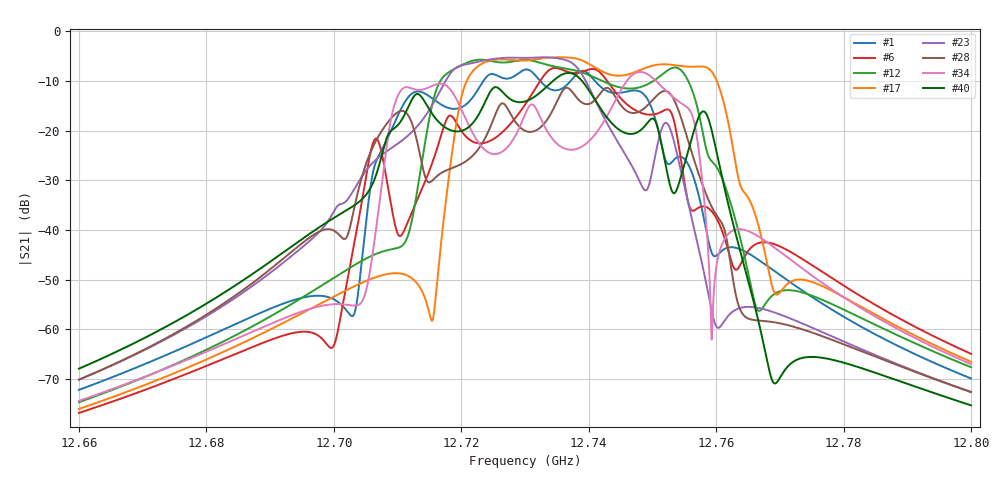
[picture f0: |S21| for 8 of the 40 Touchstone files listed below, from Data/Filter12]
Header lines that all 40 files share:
! TOUCHSTONE file generated by CST MICROWAVE STUDIO
! Project name: WaveGuide_BPF-Ver4.1_U-shape_Ku_T3_C4_CWA_2.cst
! Header version: 2018
! Port assignment regex: !\s*Touchstone port\s*([0-9]+)\s*=\s*(CST MWS port|CST DS port)\s*([0-9]+|Zmin|Zmax)\s*\(\"(.*)\"\)(\s*mode\s*([0-9]+))?.*
! Touchstone port assignment:
! Touchstone port 1 = CST MWS port 1 ("")
! Touchstone port 2 = CST MWS port 2 ("")
# GHz S RI R 50
Fixed: cavity_h = 16, cavity_l0 = 10, cavity_r = 2.5, cavity_screw_l = 0.5, cavity_screw_r = 1.5, cavity_w = 8, iris_h00 = 0, iris_h112 = 0, iris_rx = 0.1, iris_screw_l = 0.5, iris_screw_r = 1.5, iris_shift00 = 0, iris_shift112 = 0, iris_shift211 = 3.5, iris_shift310 = 0, iris_shift49 = 0, iris_shift58 = 3.5, iris_shift67 = 3.5, iris_tx = 4.5, iris_tz = 4.5, iris_w00 = 0, iris_w112 = 0, iris_w211 = 4, iris_w58 = 4, iris_w67 = 4, mesh_cavity = 5, mesh_iris = 7, mesh_screw = 7, order = 12, reset_all = 0, sigma = 4.8e+07
Also varied, not listed: iris_h45, iris_h49, iris_h56, iris_h58, iris_h67, iris_w310, iris_w49
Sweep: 12.66 GHz to 12.8 GHz
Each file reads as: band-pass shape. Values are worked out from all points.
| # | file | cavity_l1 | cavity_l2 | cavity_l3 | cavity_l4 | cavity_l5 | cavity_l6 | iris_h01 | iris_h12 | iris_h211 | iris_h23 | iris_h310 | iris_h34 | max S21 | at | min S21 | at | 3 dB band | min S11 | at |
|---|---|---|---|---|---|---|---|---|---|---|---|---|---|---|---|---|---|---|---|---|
| 1 | 121_Sprms.s2p | 15.2335 | 16.8156 | 17.1173 | 17.2417 | 17.1182 | 17.6177 | 8.8087 | 5.5981 | 3.6622 | 5.2048 | 3.9636 | 5.0733 | -7.67 dB | 12.73 GHz | -72.2 dB | 12.66 GHz | 12.723 GHz-12.733 GHz | -10.2 dB | 12.712 GHz |
| 2 | 122_Sprms.s2p | 15.1608 | 16.8086 | 17.1054 | 17.2429 | 17.1575 | 17.5666 | 8.8402 | 5.5957 | 3.6542 | 5.2049 | 3.9662 | 5.0701 | -8.33 dB | 12.718 GHz | -76.4 dB | 12.66 GHz | 12.711 GHz-12.72 GHz | -16.5 dB | 12.718 GHz |
| 3 | 123_Sprms.s2p | 15.2193 | 16.8415 | 17.0829 | 17.3085 | 17.1508 | 17.6099 | 8.8205 | 5.5876 | 3.6678 | 5.2008 | 3.977 | 5.0876 | -5.96 dB | 12.729 GHz | -72.1 dB | 12.7 GHz | 12.722 GHz-12.733 GHz | -16.6 dB | 12.73 GHz |
| 4 | 124_Sprms.s2p | 15.2225 | 16.8166 | 17.1429 | 17.2754 | 17.1395 | 17.6234 | 8.8228 | 5.6089 | 3.6639 | 5.1919 | 3.9705 | 5.0684 | -7.56 dB | 12.741 GHz | -71.8 dB | 12.66 GHz | 12.733 GHz-12.744 GHz | -17.8 dB | 12.706 GHz |
| 5 | 125_Sprms.s2p | 15.2264 | 16.8757 | 17.1068 | 17.2505 | 17.12 | 17.6037 | 8.8418 | 5.589 | 3.6661 | 5.1998 | 3.9765 | 5.0917 | -5.42 dB | 12.735 GHz | -75.9 dB | 12.8 GHz | 12.72 GHz-12.746 GHz | -26.0 dB | 12.736 GHz |
| 6 | 126_Sprms.s2p | 15.1668 | 16.8086 | 17.0632 | 17.3078 | 17.117 | 17.5871 | 8.832 | 5.5862 | 3.6599 | 5.2015 | 3.9622 | 5.0877 | -7.37 dB | 12.735 GHz | -76.8 dB | 12.66 GHz | 12.732 GHz-12.743 GHz | -11.0 dB | 12.734 GHz |
| 7 | 127_Sprms.s2p | 15.1908 | 16.804 | 17.1202 | 17.3016 | 17.0939 | 17.6262 | 8.8118 | 5.5937 | 3.6685 | 5.2085 | 3.9723 | 5.0917 | -9.08 dB | 12.725 GHz | -76.1 dB | 12.66 GHz | 12.722 GHz-12.732 GHz | -10.2 dB | 12.724 GHz |
| 8 | 128_Sprms.s2p | 15.1802 | 16.8472 | 17.1051 | 17.2406 | 17.1155 | 17.5807 | 8.8005 | 5.6124 | 3.6663 | 5.1923 | 3.9713 | 5.0868 | -5.42 dB | 12.726 GHz | -73.1 dB | 12.66 GHz | 12.72 GHz-12.739 GHz | -28.6 dB | 12.725 GHz |
| 9 | 129_Sprms.s2p | 15.2212 | 16.8653 | 17.0657 | 17.2244 | 17.1333 | 17.582 | 8.7999 | 5.6049 | 3.6529 | 5.2007 | 3.9653 | 5.0827 | -7.32 dB | 12.739 GHz | -73.9 dB | 12.8 GHz | 12.735 GHz-12.743 GHz | -12.8 dB | 12.74 GHz |
| 10 | 130_Sprms.s2p | 15.1932 | 16.8266 | 17.1368 | 17.2857 | 17.1257 | 17.623 | 8.8338 | 5.5968 | 3.668 | 5.208 | 3.9601 | 5.0924 | -6.03 dB | 12.723 GHz | -72.9 dB | 12.66 GHz | 12.72 GHz-12.727 GHz | -32.5 dB | 12.702 GHz |
| 11 | 131_Sprms.s2p | 15.2296 | 16.8154 | 17.0889 | 17.2991 | 17.1416 | 17.5982 | 8.8161 | 5.61 | 3.6634 | 5.1962 | 3.9658 | 5.0816 | -5.63 dB | 12.729 GHz | -71.5 dB | 12.66 GHz | 12.724 GHz-12.738 GHz | -19.6 dB | 12.729 GHz |
| 12 | 132_Sprms.s2p | 15.1742 | 16.8288 | 17.0803 | 17.2344 | 17.1303 | 17.5769 | 8.8149 | 5.6049 | 3.6565 | 5.2012 | 3.9764 | 5.0799 | -5.70 dB | 12.723 GHz | -74.7 dB | 12.66 GHz | 12.718 GHz-12.74 GHz | -16.1 dB | 12.723 GHz |
| 13 | 133_Sprms.s2p | 15.1805 | 16.818 | 17.0704 | 17.2276 | 17.156 | 17.6184 | 8.821 | 5.603 | 3.6666 | 5.2057 | 3.9778 | 5.0737 | -7.24 dB | 12.74 GHz | -74.6 dB | 12.66 GHz | 12.735 GHz-12.742 GHz | -12.0 dB | 12.74 GHz |
| 14 | 134_Sprms.s2p | 15.1715 | 16.8433 | 17.0872 | 17.2759 | 17.0946 | 17.5682 | 8.8373 | 5.5983 | 3.6682 | 5.1923 | 3.9798 | 5.0723 | -6.01 dB | 12.746 GHz | -72.9 dB | 12.66 GHz | 12.738 GHz-12.754 GHz | -15.4 dB | 12.746 GHz |
| 15 | 135_Sprms.s2p | 15.1707 | 16.8766 | 17.0802 | 17.2764 | 17.126 | 17.635 | 8.8159 | 5.6129 | 3.6633 | 5.2037 | 3.9602 | 5.0798 | -7.46 dB | 12.716 GHz | -71.9 dB | 12.8 GHz | 12.734 GHz-12.741 GHz | -17.0 dB | 12.751 GHz |
| 16 | 136_Sprms.s2p | 15.2265 | 16.8533 | 17.1164 | 17.2688 | 17.1368 | 17.5735 | 8.8246 | 5.609 | 3.6612 | 5.187 | 3.9746 | 5.0854 | -5.02 dB | 12.721 GHz | -73.6 dB | 12.8 GHz | 12.715 GHz-12.74 GHz | -24.8 dB | 12.721 GHz |
| 17 | 137_Sprms.s2p | 15.2045 | 16.8088 | 17.0663 | 17.2249 | 17.1023 | 17.5613 | 8.8021 | 5.5863 | 3.6536 | 5.2003 | 3.9618 | 5.0924 | -5.22 dB | 12.736 GHz | -76.0 dB | 12.66 GHz | 12.722 GHz-12.742 GHz | -39.8 dB | 12.724 GHz |
| 18 | 138_Sprms.s2p | 15.2022 | 16.8332 | 17.0842 | 17.2837 | 17.1386 | 17.5604 | 8.8128 | 5.59 | 3.6689 | 5.2018 | 3.9726 | 5.0758 | -5.19 dB | 12.728 GHz | -73.3 dB | 12.66 GHz | 12.721 GHz-12.739 GHz | -23.8 dB | 12.728 GHz |
| 19 | 139_Sprms.s2p | 15.1714 | 16.8049 | 17.0847 | 17.3059 | 17.0907 | 17.6216 | 8.8043 | 5.5995 | 3.6658 | 5.1872 | 3.9761 | 5.0729 | -7.97 dB | 12.749 GHz | -77.5 dB | 12.66 GHz | 12.746 GHz-12.752 GHz | -10.1 dB | 12.748 GHz |
| 20 | 140_Sprms.s2p | 15.2252 | 16.8425 | 17.1359 | 17.2997 | 17.1356 | 17.6259 | 8.8087 | 5.6023 | 3.6675 | 5.2102 | 3.9765 | 5.0761 | -5.87 dB | 12.73 GHz | -72.1 dB | 12.8 GHz | 12.717 GHz-12.741 GHz | -29.5 dB | 12.701 GHz |
| 21 | 141_Sprms.s2p | 15.2077 | 16.8367 | 17.0986 | 17.234 | 17.1584 | 17.6191 | 8.8147 | 5.5942 | 3.6634 | 5.2087 | 3.9713 | 5.0696 | -7.08 dB | 12.722 GHz | -72.3 dB | 12.66 GHz | 12.713 GHz-12.725 GHz | -15.8 dB | 12.715 GHz |
| 22 | 142_Sprms.s2p | 15.1871 | 16.8843 | 17.1253 | 17.2548 | 17.1291 | 17.6206 | 8.8099 | 5.5983 | 3.6564 | 5.2072 | 3.9652 | 5.0833 | -5.64 dB | 12.727 GHz | -73.2 dB | 12.8 GHz | 12.716 GHz-12.733 GHz | -25.9 dB | 12.718 GHz |
| 23 | 143_Sprms.s2p | 15.1994 | 16.8686 | 17.1122 | 17.2451 | 17.1239 | 17.6385 | 8.8075 | 5.5972 | 3.6642 | 5.2075 | 3.9756 | 5.0769 | -5.21 dB | 12.733 GHz | -72.6 dB | 12.8 GHz | 12.718 GHz-12.739 GHz | -26.8 dB | 12.726 GHz |
| 24 | 144_Sprms.s2p | 15.1909 | 16.8412 | 17.1276 | 17.2726 | 17.099 | 17.5949 | 8.8259 | 5.5898 | 3.6559 | 5.1967 | 3.9634 | 5.0898 | -6.61 dB | 12.739 GHz | -73.2 dB | 12.66 GHz | 12.723 GHz-12.75 GHz | -13.2 dB | 12.705 GHz |
| 25 | 145_Sprms.s2p | 15.1662 | 16.8756 | 17.0704 | 17.2771 | 17.0887 | 17.6232 | 8.8332 | 5.6127 | 3.6621 | 5.191 | 3.9655 | 5.0781 | -7.65 dB | 12.749 GHz | -72.1 dB | 12.8 GHz | 12.746 GHz-12.751 GHz | -17.6 dB | 12.719 GHz |
| 26 | 146_Sprms.s2p | 15.1786 | 16.8119 | 17.1443 | 17.2502 | 17.1511 | 17.5911 | 8.8071 | 5.5961 | 3.6562 | 5.1962 | 3.9602 | 5.0899 | -6.38 dB | 12.743 GHz | -76.9 dB | 12.66 GHz | 12.74 GHz-12.746 GHz | -14.4 dB | 12.703 GHz |
| 27 | 147_Sprms.s2p | 15.1698 | 16.8331 | 17.1332 | 17.2931 | 17.1545 | 17.6369 | 8.8375 | 5.6094 | 3.6603 | 5.2038 | 3.968 | 5.073 | -4.96 dB | 12.732 GHz | -87.2 dB | 12.696 GHz | 12.713 GHz-12.739 GHz | -29.4 dB | 12.716 GHz |
| 28 | 148_Sprms.s2p | 15.1744 | 16.8784 | 17.065 | 17.2929 | 17.1114 | 17.554 | 8.8308 | 5.5872 | 3.6644 | 5.2112 | 3.9606 | 5.0875 | -11.35 dB | 12.737 GHz | -72.6 dB | 12.8 GHz | 12.741 GHz-12.745 GHz | -16.8 dB | 12.753 GHz |
| 29 | 149_Sprms.s2p | 15.1786 | 16.8776 | 17.1005 | 17.2917 | 17.0961 | 17.6402 | 8.8216 | 5.5979 | 3.6645 | 5.1894 | 3.977 | 5.0891 | -9.36 dB | 12.714 GHz | -72.0 dB | 12.8 GHz | 12.741 GHz-12.75 GHz | -11.1 dB | 12.714 GHz |
| 30 | 150_Sprms.s2p | 15.1921 | 16.8604 | 17.0885 | 17.2545 | 17.1184 | 17.6041 | 8.8407 | 5.5881 | 3.6582 | 5.2062 | 3.9641 | 5.0781 | -5.18 dB | 12.737 GHz | -72.7 dB | 12.8 GHz | 12.731 GHz-12.748 GHz | -31.1 dB | 12.754 GHz |
| 31 | 151_Sprms.s2p | 15.1642 | 16.8524 | 17.1145 | 17.2289 | 17.1573 | 17.5844 | 8.8229 | 5.5948 | 3.6538 | 5.1884 | 3.9772 | 5.0823 | -7.83 dB | 12.716 GHz | -74.0 dB | 12.66 GHz | 12.71 GHz-12.718 GHz | -18.4 dB | 12.754 GHz |
| 32 | 152_Sprms.s2p | 15.229 | 16.8292 | 17.0803 | 17.2854 | 17.1584 | 17.603 | 8.8076 | 5.6125 | 3.6513 | 5.2067 | 3.9612 | 5.0696 | -5.54 dB | 12.727 GHz | -71.6 dB | 12.8 GHz | 12.715 GHz-12.733 GHz | -22.3 dB | 12.726 GHz |
| 33 | 153_Sprms.s2p | 15.2322 | 16.8791 | 17.1102 | 17.31 | 17.1433 | 17.5803 | 8.8358 | 5.6099 | 3.6528 | 5.1991 | 3.9645 | 5.0737 | -6.19 dB | 12.727 GHz | -77.0 dB | 12.8 GHz | 12.716 GHz-12.735 GHz | -11.8 dB | 12.727 GHz |
| 34 | 154_Sprms.s2p | 15.1977 | 16.8108 | 17.1122 | 17.2383 | 17.1685 | 17.5679 | 8.836 | 5.5909 | 3.6679 | 5.1882 | 3.961 | 5.0824 | -8.18 dB | 12.748 GHz | -74.4 dB | 12.66 GHz | 12.745 GHz-12.752 GHz | -13.1 dB | 12.748 GHz |
| 35 | 155_Sprms.s2p | 15.1976 | 16.8618 | 17.1119 | 17.234 | 17.1671 | 17.6124 | 8.8118 | 5.601 | 3.6621 | 5.2089 | 3.975 | 5.0805 | -8.57 dB | 12.713 GHz | -72.2 dB | 12.8 GHz | 12.719 GHz-12.724 GHz | -16.0 dB | 12.753 GHz |
| 36 | 156_Sprms.s2p | 15.1861 | 16.8547 | 17.099 | 17.303 | 17.0959 | 17.6141 | 8.8124 | 5.5943 | 3.6624 | 5.1913 | 3.9739 | 5.0905 | -7.95 dB | 12.748 GHz | -72.7 dB | 12.66 GHz | 12.744 GHz-12.751 GHz | -22.5 dB | 12.705 GHz |
| 37 | 157_Sprms.s2p | 15.2288 | 16.8705 | 17.0637 | 17.2658 | 17.1418 | 17.6236 | 8.835 | 5.6113 | 3.651 | 5.19 | 3.9783 | 5.0841 | -6.63 dB | 12.731 GHz | -76.1 dB | 12.8 GHz | 12.728 GHz-12.739 GHz | -16.7 dB | 12.757 GHz |
| 38 | 158_Sprms.s2p | 15.1885 | 16.8338 | 17.1046 | 17.2978 | 17.1275 | 17.5846 | 8.8197 | 5.5883 | 3.6548 | 5.1941 | 3.9781 | 5.08 | -5.76 dB | 12.736 GHz | -74.4 dB | 12.66 GHz | 12.727 GHz-12.743 GHz | -21.8 dB | 12.735 GHz |
| 39 | 159_Sprms.s2p | 15.1689 | 16.8634 | 17.0955 | 17.2942 | 17.092 | 17.5759 | 8.8002 | 5.608 | 3.6523 | 5.1952 | 3.9761 | 5.0834 | -6.58 dB | 12.744 GHz | -72.9 dB | 12.66 GHz | 12.738 GHz-12.75 GHz | -29.5 dB | 12.744 GHz |
| 40 | 160_Sprms.s2p | 15.2197 | 16.8706 | 17.0699 | 17.2404 | 17.1632 | 17.5843 | 8.8323 | 5.5909 | 3.6538 | 5.2028 | 3.9799 | 5.0695 | -8.37 dB | 12.737 GHz | -75.3 dB | 12.8 GHz | 12.733 GHz-12.74 GHz | -13.6 dB | 12.758 GHz |
